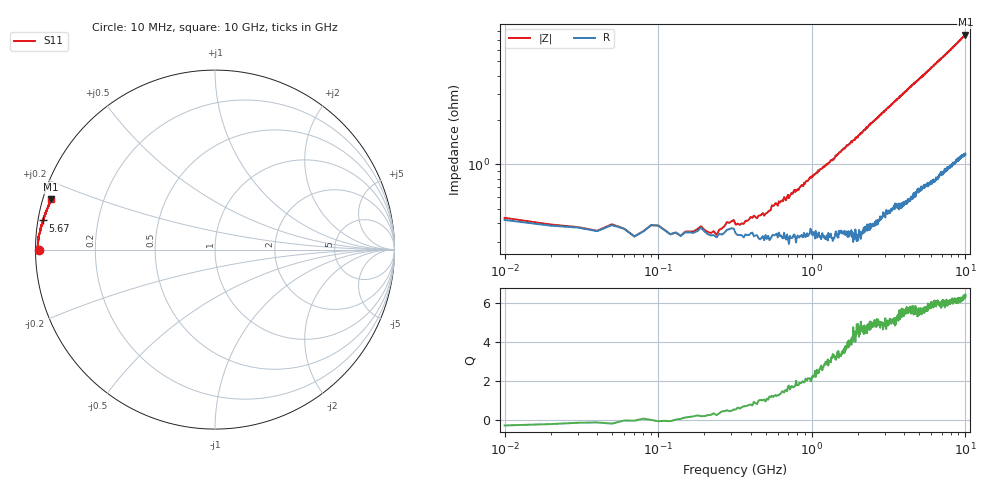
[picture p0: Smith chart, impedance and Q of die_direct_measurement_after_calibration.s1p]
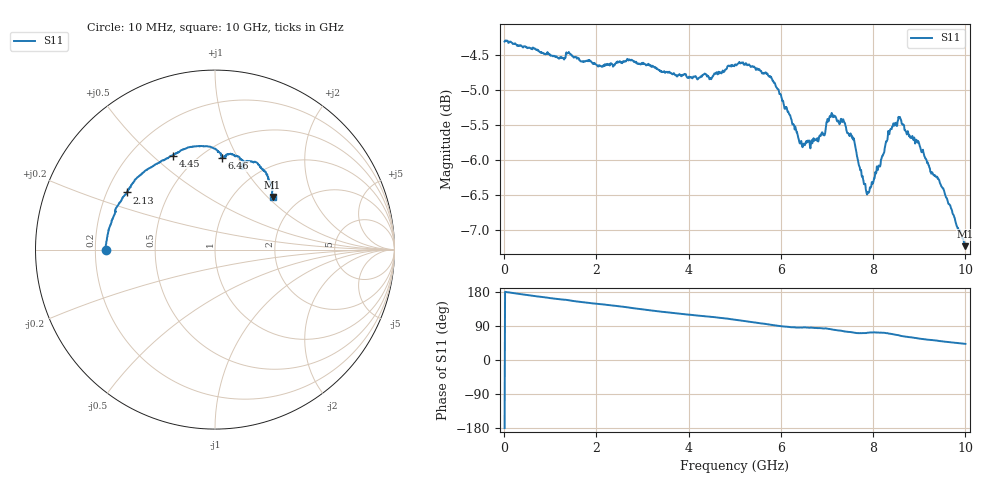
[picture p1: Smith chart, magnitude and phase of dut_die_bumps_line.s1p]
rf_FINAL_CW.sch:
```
<Qucs Schematic 25.1.2>
<Properties>
  <View=126,2,1719,892,1.38857,0,0>
  <Grid=10,10,1>
  <DataSet=rf_FINAL_CW.dat>
  <DataDisplay=rf_FINAL_CW.dpl>
  <OpenDisplay=0>
  <Script=gsg_cpw_model_nobump.m>
  <RunScript=0>
  <showFrame=0>
  <FrameText0=Title>
  <FrameText1=Drawn By:>
  <FrameText2=Date:>
  <FrameText3=Revision:>
</Properties>
<Symbol>
</Symbol>
<Components>
  <GND * 1 180 550 0 0 0 0>
  <GND * 1 380 640 0 0 0 0>
  <Pac P1 1 180 520 18 -26 0 1 "1" 1 "50 Ohm" 1 "0 dBm" 0 "1 MHz" 0 "26.85" 0 "true" 0>
  <Eqn Eqn1 1 380 200 -31 17 0 0 "dBS11=dB(S[1,1])" 1 "yes" 0>
  <.SP SP1 1 180 200 0 64 0 0 "lin" 1 "10 MHz" 1 "10 GHz" 1 "1000" 1 "no" 0 "1" 0 "2" 0 "no" 0 "no" 0>
  <GND * 1 710 550 0 0 0 0>
  <GND * 1 900 480 0 0 0 0>
  <SPfile X1 1 900 450 -26 -57 0 0 "/home/danieltyukov/workspace/tue/tue-bep/s_params_and_scripts/die_direct_measurement_after_calibration.s1p" 1 "rectangular" 0 "linear" 0 "open" 0 "1" 0>
  <R R1 1 500 450 -26 15 0 0 "5.54 Ohm" 1 "26.85" 0 "0.0" 0 "0.0" 0 "26.85" 0 "european" 0>
  <L L1 1 280 450 -26 10 0 0 "0.486 nH" 1 "" 0>
  <C C1 1 380 500 17 -26 0 1 "66.1 fF" 1 "" 0 "neutral" 0>
  <C C2 1 450 610 17 -26 0 1 "66.1 fF" 1 "" 0 "neutral" 0>
  <L L2 1 630 450 -26 10 0 0 "96 pH" 1 "" 0>
  <C C3 1 710 520 17 -26 0 1 "3.6 fF" 1 "" 0 "neutral" 0>
  <R R4 1 790 450 -26 15 0 0 "0.24 mOhm" 1 "26.85" 0 "0.0" 0 "0.0" 0 "26.85" 0 "european" 0>
  <Eqn Eqn2 1 380 290 -31 17 0 0 "dBS22=dB(S[2,2])" 1 "yes" 0>
  <SPfile X2 1 320 720 -26 -57 0 0 "/home/danieltyukov/workspace/tue/tue-bep/s_params_and_scripts/dut_die_bumps_line.s1p" 1 "rectangular" 0 "linear" 0 "open" 0 "1" 0>
  <Pac P2 1 180 760 18 -26 0 1 "2" 1 "50 Ohm" 1 "0 dBm" 0 "1 MHz" 0 "26.85" 0 "true" 0>
  <GND * 1 180 790 0 0 0 0>
  <GND * 1 320 750 0 0 0 0>
  <R R2 1 310 610 15 -26 0 1 "24.1 MOhm" 1 "26.85" 0 "0.0" 0 "0.0" 0 "26.85" 0 "european" 0>
</Components>
<Wires>
  <180 450 180 490 "" 0 0 0 "">
  <180 450 250 450 "" 0 0 0 "">
  <310 450 380 450 "" 0 0 0 "">
  <380 450 380 470 "" 0 0 0 "">
  <380 530 380 560 "" 0 0 0 "">
  <310 560 380 560 "" 0 0 0 "">
  <310 560 310 580 "" 0 0 0 "">
  <310 640 380 640 "" 0 0 0 "">
  <380 560 450 560 "" 0 0 0 "">
  <450 560 450 580 "" 0 0 0 "">
  <380 640 450 640 "" 0 0 0 "">
  <380 450 470 450 "" 0 0 0 "">
  <660 450 710 450 "" 0 0 0 "">
  <710 450 760 450 "" 0 0 0 "">
  <710 450 710 490 "" 0 0 0 "">
  <530 450 600 450 "" 0 0 0 "">
  <820 450 870 450 "" 0 0 0 "">
  <180 720 180 730 "" 0 0 0 "">
  <180 720 290 720 "" 0 0 0 "">
</Wires>
<Diagrams>
  <Smith 990 360 200 200 3 #c0c0c0 1 00 1 0 1 1 1 0 4 1 1 0 1 1 315 0 225 1 0 0 "" "" "">
	<"S[1,1]" #0000ff 1 3 0 0 0>
	  <Mkr 1e+07 -55 -266 3 0 0>
	<"S[2,2]" #ff0000 1 3 0 0 0>
	  <Mkr 1e+07 119 -264 3 0 0>
  </Smith>
  <Rect 560 360 240 160 3 #c0c0c0 1 00 1 0 2e+09 1e+10 1 -2.15157 0.5 -1.30562 1 -1 1 1 315 0 225 1 0 0 "" "" "">
	<"dBS11" #0000ff 1 3 0 0 0>
	  <Mkr 1e+07 12 -202 3 0 0>
	<"dBS22" #ff0000 1 3 0 0 0>
	  <Mkr 1e+07 156 -211 3 0 0>
  </Rect>
</Diagrams>
<Paintings>
</Paintings>
```
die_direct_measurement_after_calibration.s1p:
!Keysight Technologies,N5247B,MY60213743,A.16.20.04
!Date: Wednesday, June 04, 2025 17:01:59
!Correction: S11(C  1-Port  )
!S1P File: Measurement: S11:
# Hz S  RI  R 50
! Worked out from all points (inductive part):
!   1000 points, 10 MHz to 10 GHz, reference 50 ohm
!   read as one part to ground: L = 121 pH near 1.23 GHz
!   highest Q = 6.44 at 10 GHz (marker M1), where L = 119 pH
!   S11 on the Smith chart (normalised r, x): 10 MHz: 0.01, -0.00; 5.67 GHz: 0.01, +0.08; 10 GHz: 0.02, +0.15
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1e7  -0.9833 -0.00429
1.2e8  -0.9866 -0.000538
4.9e8  -0.9877 0.013
1.1e9  -0.9861 0.0335
1.99e9  -0.9853 0.0595
2.42e9  -0.9826 0.0737
3.34e9  -0.9754 0.0993
3.86e9  -0.9729 0.1136
4.54e9  -0.9678 0.1334
4.88e9  -0.9631 0.1404
5.67e9  -0.9579 0.1624
6.67e9  -0.9494 0.19
7.95e9  -0.9363 0.2231
1e10  -0.9135 0.2801
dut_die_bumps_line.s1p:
!Keysight Technologies,N5247B,MY60213743,A.16.20.04
!Date: Thursday, June 05, 2025 15:18:02
!Correction: S11(C  1-Port  )
!S1P File: Measurement: S11:
# Hz S  RI  R 50
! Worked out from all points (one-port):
!   1000 points, 10 MHz to 10 GHz, reference 50 ohm
!   lowest |S11| = -7.2 dB at 10 GHz (marker M1), VSWR 2.54, Z = 74 + j53.6 ohm
!   |S11| at or under -10 dB: nowhere
!   S11 on the Smith chart (normalised r, x): 10 MHz: 0.24, -0.00; 2.13 GHz: 0.28, +0.27; 4.45 GHz: 0.38, +0.58; 6.46 GHz: 0.62, +0.86; 10 GHz: 1.48, +1.07
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1e7  -0.6092 -0.0026
2.13e9  -0.4902 0.3186
3.34e9  -0.3617 0.4556
4.45e9  -0.2319 0.5234
5.52e9  -0.0775 0.5772
6.46e9  0.0397 0.5109
6.67e9  0.0439 0.516
7.14e9  0.0946 0.5306
7.63e9  0.1647 0.4821
7.89e9  0.147 0.4523
8.21e9  0.1573 0.4796
8.53e9  0.2161 0.4884
9.12e9  0.2917 0.4107
1e10  0.3204 0.294
